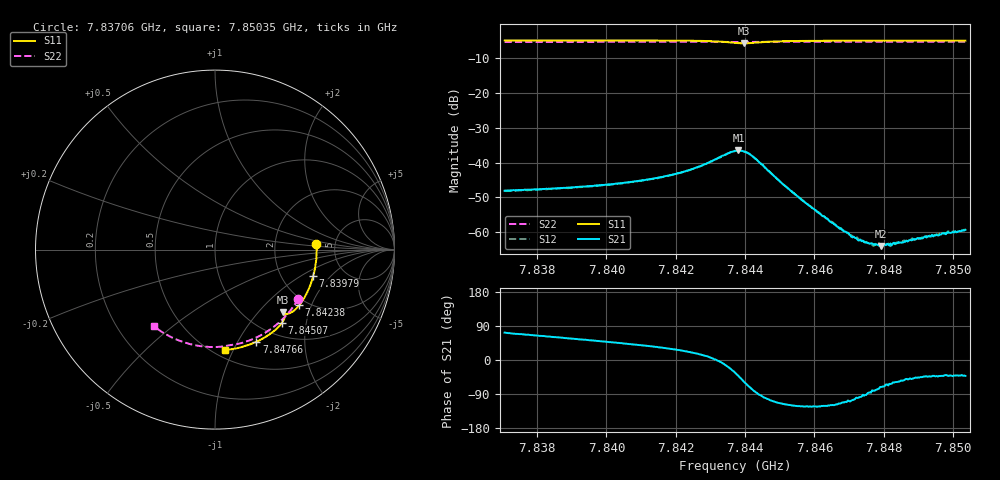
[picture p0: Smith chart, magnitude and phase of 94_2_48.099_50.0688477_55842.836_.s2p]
#  HZ  S  RI  R  50.00
! Rohde & Schwarz Vector Network Analyzer
! Rohde-Schwarz,ZNB20-2Port,1311601062101988,3.16
! Created: UTC 12/23/2023, 3:44:05 AM
! freq[Hz]  re:S11  im:S11  re:S21  im:S21  re:S12  im:S12  re:S22  im:S22
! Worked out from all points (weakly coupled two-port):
!   401 points, 7.83706 GHz to 7.85035 GHz, reference 50 ohm
!   highest |S21| = -36.53 dB at 7.84381 GHz (marker M1); lowest = -64.0 dB at 7.84793 GHz (marker M2)
!   lowest |S11| = -5.8 dB at 7.84397 GHz (marker M3), VSWR 3.13, Z = 72.8 - j69 ohm
!   |S11| at or under -10 dB: nowhere
!   |S22| runs from -5.4 to -5.2 dB; largest |S21 - S12| = 0.00035
!   S11 on the Smith chart (normalised r, x): 7.83706 GHz: 3.58, +0.33; 7.83979 GHz: 2.98, -1.31; 7.84238 GHz: 1.81, -1.64; 7.84507 GHz: 1.25, -1.46; 7.84766 GHz: 0.80, -1.20; 7.85035 GHz: 0.57, -0.93
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7.837065e9  0.5654 0.031  0.0012 0.00375  0.00125 0.00369  0.4648 -0.2742
7.839291e9  0.555 -0.1164  0.00263 0.00365  0.00262 0.00358  0.368 -0.3958
7.839789e9  0.547 -0.1489  0.00303 0.00361  0.003 0.00356  0.3418 -0.4189
7.840586e9  0.5301 -0.2002  0.00379 0.00353  0.00375 0.00352  0.2968 -0.4522
7.841517e9  0.503 -0.2585  0.00507 0.00335  0.00504 0.00337  0.2404 -0.4851
7.84238e9  0.4689 -0.3105  0.00724 0.0028  0.00717 0.00285  0.1844 -0.509
7.843211e9  0.42 -0.3527  0.0115 -0.00041  0.0115 -0.000326  0.1284 -0.5252
7.843709e9  0.3847 -0.355  0.0123 -0.00813  0.0123 -0.0079  0.0948 -0.5307
7.843809e9  0.3811 -0.3521  0.0111 -0.00998  0.011 -0.00987  0.0886 -0.5317
7.843975e9  0.3808 -0.3478  0.00754 -0.0122  0.00771 -0.0121  0.0782 -0.5334
7.844141e9  0.3851 -0.3486  0.00405 -0.0125  0.00405 -0.0125  0.0675 -0.5353
7.844274e9  0.3886 -0.3538  0.0015 -0.0116  0.00153 -0.0115  0.0588 -0.5369
7.845071e9  0.3742 -0.4064  -0.00214 -0.00451  -0.00218 -0.00456  0.00328 -0.5427
7.845935e9  0.3313 -0.4514  -0.00123 -0.00188  -0.00121 -0.00185  -0.0576 -0.5405
7.846666e9  0.2902 -0.4811  -0.000539 -0.00106  -0.000534 -0.0011  -0.1087 -0.5335
7.847098e9  0.2649 -0.4964  -0.000228 -0.000811  -0.000235 -0.000832  -0.1382 -0.5266
7.847297e9  0.2529 -0.5027  -0.000105 -0.000756  -0.000125 -0.000763  -0.1518 -0.523
7.847663e9  0.2307 -0.5134  0.000118 -0.000679  6.96e-05 -0.000654  -0.1762 -0.5154
7.847928e9  0.2143 -0.5206  0.000206 -0.000599  0.000198 -0.000637  -0.1938 -0.5093
7.848161e9  0.1999 -0.5264  0.000294 -0.000571  0.000292 -0.000604  -0.209 -0.5034
7.849922e9  0.0863 -0.5559  0.000738 -0.000639  0.000755 -0.000662  -0.3172 -0.4443
7.850354e9  0.0578 -0.5595  0.000804 -0.00072  0.0008 -0.000711  -0.3415 -0.4263
